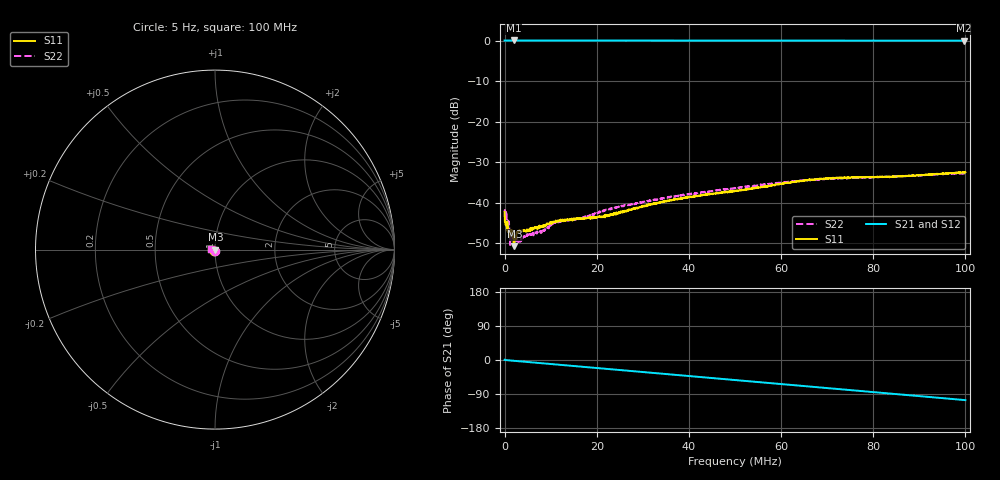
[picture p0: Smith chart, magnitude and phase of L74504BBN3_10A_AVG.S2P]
!Agilent Technologies,E5061B,MY49102235,A.02.00
!Date: Tue Jul 11 15:28:24 2023
!Data & Calibration Information:
!Freq	S11:SOLT2(ON)	S21:SOLT2(ON)	S12:SOLT2(ON)	S22:SOLT2(ON)
# Hz S RI R 50
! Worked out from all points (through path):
!   1600 points, 5 Hz to 100 MHz, reference 50 ohm
!   highest |S21| = 0.02 dB at 2.001 MHz (marker M1); lowest = 0.0 dB at 99.75 MHz (marker M2)
!   group delay of S21, straight-line fit = 2.94 ns
!   lowest |S11| = -50.7 dB at 2.126 MHz (marker M3), VSWR 1.01, Z = 50.3 - j0.107 ohm
!   |S11| at or under -10 dB: start of sweep to end of sweep
!   |S22| runs from -50.4 to -32.6 dB; largest |S21 - S12| = 0.0027
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5  -0.00526 -0.00563  1.002 0.00796  1 0.0102  -0.00149 -0.00756
437778.6  0.00514 -0.00017  1.001 -0.00597  1.001 -0.0066  0.00662 -0.00182
625395.8  0.00508 -8.46e-05  1.002 -0.011  1.002 -0.0105  0.00611 -0.000471
1000630  0.00379 0.000108  1.001 -0.0173  1.001 -0.0171  0.00516 -0.000791
1500943  0.00438 -0.00118  1.001 -0.0263  1.002 -0.0261  0.00304 -0.00232
1688560  0.00391 -0.0012  1.001 -0.0308  1.001 -0.0309  0.00362 -0.00204
2001256  0.00309 -0.00104  1.002 -0.0369  1.001 -0.0366  0.00324 -0.000742
2126334  0.00273 -0.00107  1.001 -0.039  1 -0.0386  0.00388 -0.000482
2439029  0.00385 -0.000846  0.9997 -0.0453  0.9993 -0.0448  0.00372 -0.000374
2939342  0.00434 -0.000974  0.9996 -0.0541  0.999 -0.0541  0.00326 -0.000618
3439655  0.00442 -0.0011  0.9987 -0.0631  0.9989 -0.0631  0.00325 -0.000754
4627897  0.00425 -0.00164  0.9974 -0.0849  0.9971 -0.0847  0.00379 -0.00124
8255164  0.00327 -0.00405  0.9896 -0.1517  0.9894 -0.1516  0.00305 -0.00355
1.11945e7  0.00211 -0.00539  0.9798 -0.2051  0.9797 -0.2048  0.00112 -0.00579
1.669794e7  0.000415 -0.00641  0.9535 -0.3033  0.9534 -0.303  4.93e-05 -0.00649
2.132583e7  0.000198 -0.00666  0.9243 -0.3834  0.9243 -0.3833  0.00203 -0.00756
3.333334e7  -0.00333 -0.0095  0.817 -0.5774  0.817 -0.577  -0.00222 -0.0108
5.003127e7  -0.0085 -0.0111  0.6029 -0.7978  0.6028 -0.7976  -0.0091 -0.0121
6.672921e7  -0.0167 -0.0102  0.3314 -0.9423  0.3316 -0.9423  -0.0161 -0.0103
8.33646e7  -0.0206 -0.00429  0.0305 -0.9973  0.0305 -0.9973  -0.0202 -0.00545
9.974984e7  -0.0238 0.00219  -0.2688 -0.9591  -0.2686 -0.9592  -0.023 0.000657
1e8  -0.0237 0.00223  -0.2733 -0.958  -0.2732 -0.9581  -0.0232 0.000916
